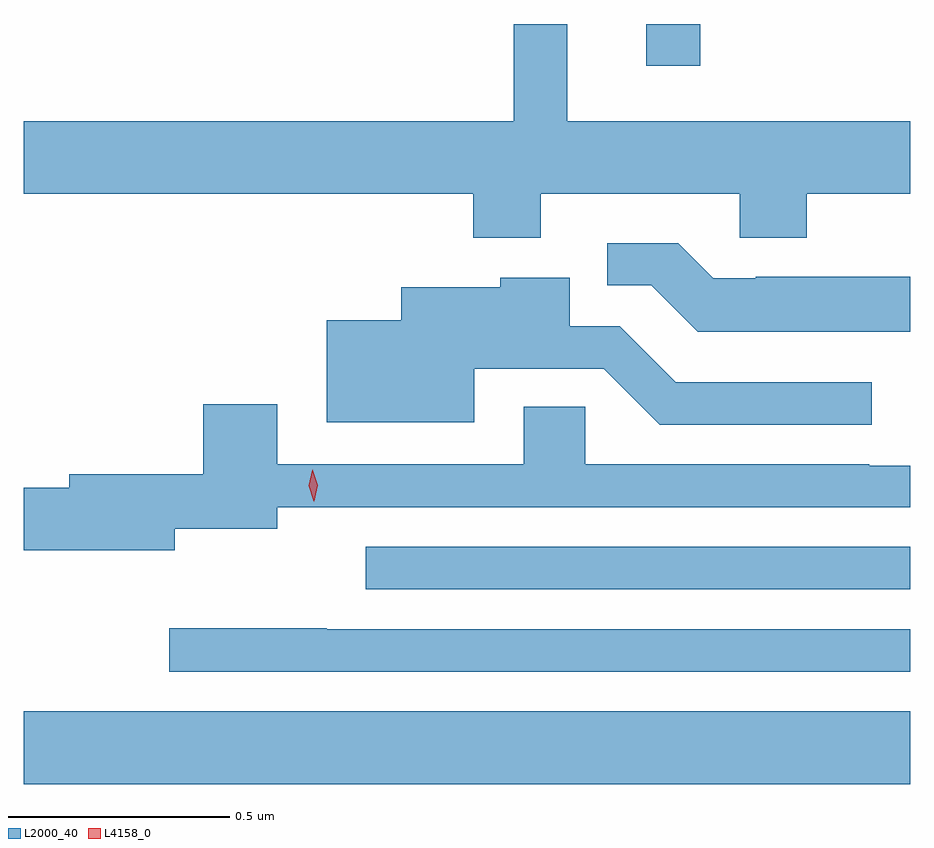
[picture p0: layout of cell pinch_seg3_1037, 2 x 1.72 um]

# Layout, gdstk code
import gdstk
lib = gdstk.Library(unit=1e-6, precision=1e-09)
def R(c, l, rs):  # rectangles x0, y0, x1, y1
    for r in rs: c.add(gdstk.rectangle(r[:2], r[2:], *l))
def P(c, l, *ps):  # polygons
    for p in ps: c.add(gdstk.Polygon(p, *l))
L2000_40 = (2000, 40)
L4158_0 = (4158, 0)

pinch_seg3_1037 = lib.new_cell('pinch_seg3_1037')
R(pinch_seg3_1037, L2000_40, [(581.633,692.924,583.633,693.088), (582.405,693.363,583.633,693.459), (583.037,694.545,583.159,694.639)])
P(pinch_seg3_1037, L2000_40, [(582.799,694.256),(583.248,694.256),(583.248,694.157),(583.4,694.157),(583.4,694.256),(583.633,694.256),(583.633,694.42),(582.859,694.42),(582.859,694.639),(582.738,694.639),(582.738,694.42),(581.633,694.42),(581.633,694.256),(582.647,694.256),(582.647,694.157),(582.799,694.157)],
  [(583.633,694.069),(583.285,694.069),(583.285,694.065),(583.189,694.065),(583.11,694.144),(582.95,694.144),(582.95,694.05),(583.049,694.05),(583.154,693.945),(583.255,693.945),(583.255,693.944),(583.633,693.944)],
  [(583.546,693.831),(583.104,693.831),(582.978,693.957),(582.865,693.957),(582.865,694.066),(582.708,694.066),(582.708,694.045),(582.485,694.045),(582.485,693.97),(582.317,693.97),(582.317,693.74),(582.649,693.74),(582.649,693.861),(582.942,693.861),(583.068,693.735),(583.546,693.735)],
  [(581.974,693.5),(582.205,693.5),(582.205,693.549),(583.633,693.549),(583.633,693.642),(583.541,693.642),(583.541,693.645),(582.9,693.645),(582.9,693.775),(582.761,693.775),(582.761,693.645),(582.205,693.645),(582.205,693.781),(582.038,693.781),(582.038,693.623),(581.735,693.623),(581.735,693.593),(581.633,693.593),(581.633,693.451),(581.974,693.451)],
  [(583.633,693.273),(582.317,693.273),(582.317,693.276),(581.961,693.276),(581.961,693.177),(583.633,693.177)])
P(pinch_seg3_1037, L4158_0, [(582.287,693.562),(582.287,693.562),(582.276,693.597),(582.284,693.632),(582.285,693.633),(582.285,693.632),(582.296,693.598),(582.288,693.562)])

lib.write_gds('pinch_seg3_1037.gds')
